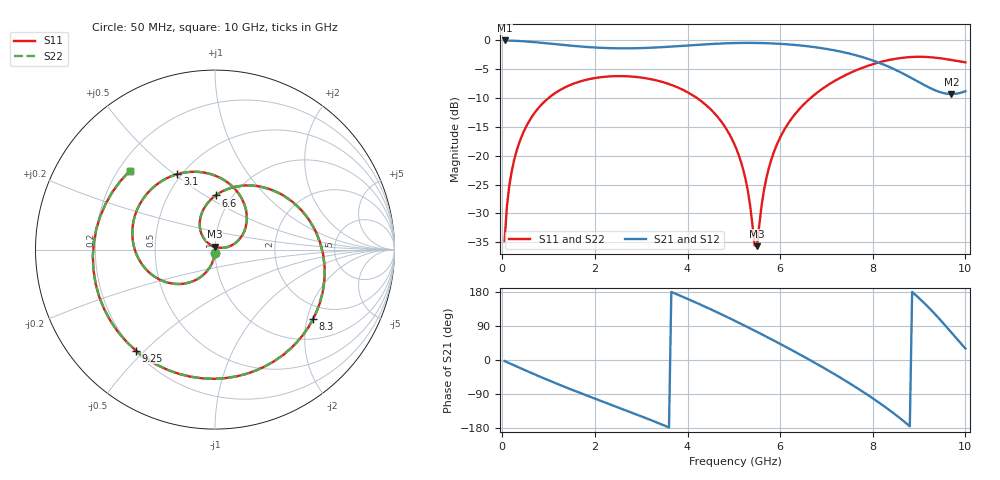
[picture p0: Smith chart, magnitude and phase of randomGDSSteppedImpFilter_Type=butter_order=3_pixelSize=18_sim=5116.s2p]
! freq	dB(S11)	phase(S11)	dB(S12)	phase(S12)
!  dB(S21)	phase(S21)	dB(S22)	phase(S22)
!S-par simulation data
#  GHz  S  DB  R 50
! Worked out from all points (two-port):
!   200 points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, 50 MHz to 10 GHz, reference 50 ohm
!   highest |S21| = -0.01 dB at 50 MHz (marker M1); lowest = -9.3 dB at 9.7 GHz (marker M2)
!   |S21| within 3 dB of the highest: start of sweep to 7.823 GHz
!   lowest |S11| = -35.7 dB at 5.5 GHz (marker M3), VSWR 1.03, Z = 49.8 + j1.62 ohm
!   |S11| at or under -10 dB: start of sweep to 997.5 MHz; 4.204 GHz to 6.656 GHz (2.452 GHz wide, 45.2 % of centre)
!   |S22| runs from -36.0 to -2.8 dB; largest |S21 - S12| = 0
!   S11 on the Smith chart (normalised r, x): 50 MHz: 1.00, -0.04; 3.1 GHz: 0.48, +0.51; 6.6 GHz: 0.84, +0.56; 8.3 GHz: 1.56, -2.18; 9.25 GHz: 0.20, -0.47; 10 GHz: 0.25, +0.37
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0.05  -34.77 -92.7  -0.01 -2.8  -0.01 -2.8  -34.77 -92.7
0.2  -22.84 -101.4  -0.04 -11.1  -0.04 -11.1  -22.84 -101.4
0.5  -15.19 -117.9  -0.17 -27.4  -0.17 -27.4  -15.19 -117.9
1.1  -9.36 -149.2  -0.61 -58.6  -0.61 -58.6  -9.36 -149.2
1.75  -6.96 179.2  -1.09 -90.2  -1.09 -90.2  -6.96 179.2
3.1  -6.56 116.5  -1.30 -153.3  -1.30 -153.3  -6.56 116.4
3.4  -7.08 102.0  -1.19 -167.9  -1.19 -167.9  -7.08 101.9
4.2  -9.98 61.4  -0.77 150.5  -0.77 150.5  -9.98 61.1
5.05  -18.72 17.5  -0.45 101.8  -0.45 101.8  -18.72 17.1
5.25  -23.99 11.7  -0.43 89.7  -0.43 89.7  -24.00 11.0
5.5  -35.70 96.5  -0.44 74.3  -0.44 74.3  -35.96 97.0
5.65  -26.02 136.3  -0.47 64.9  -0.47 64.9  -26.05 136.7
5.85  -19.70 132.7  -0.53 52.2  -0.53 52.2  -19.71 132.7
6.6  -10.40 89.3  -1.02 2.8  -1.02 2.8  -10.41 89.1
6.7  -9.70 82.8  -1.12 -4.0  -1.12 -4.0  -9.70 82.6
7.55  -5.50 23.9  -2.39 -65.4  -2.39 -65.4  -5.50 23.5
8.3  -3.48 -35.2  -4.41 -126.9  -4.41 -126.9  -3.49 -35.6
8.35  -3.40 -39.5  -4.58 -131.4  -4.58 -131.4  -3.40 -39.9
8.85  -2.87 -85.5  -6.59 179.7  -6.59 179.7  -2.87 -86.0
9.25  -2.92 -128.1  -8.31 133.2  -8.31 133.2  -2.92 -128.5
9.7  -3.40 176.9  -9.30 72.1  -9.30 72.1  -3.39 176.6
10  -3.80 137.3  -8.81 30.4  -8.81 30.4  -3.79 137.1
